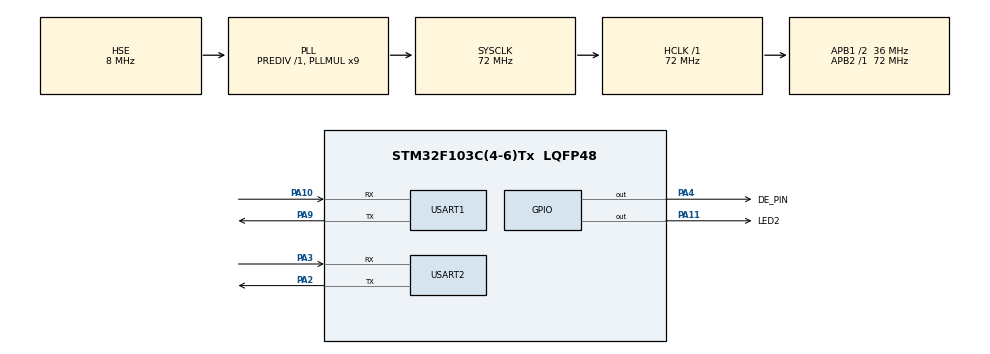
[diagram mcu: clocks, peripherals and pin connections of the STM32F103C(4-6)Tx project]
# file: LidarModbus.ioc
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Dma.Request0=USART1_RX
Dma.Request1=USART1_TX
Dma.Request2=USART2_RX
Dma.Request3=USART2_TX
Dma.USART1_RX.0.Direction=DMA_PERIPH_TO_MEMORY
Dma.USART1_RX.0.Instance=DMA1_Channel5
Dma.USART1_RX.0.MemDataAlignment=DMA_MDATAALIGN_BYTE
Dma.USART1_RX.0.MemInc=DMA_MINC_ENABLE
Dma.USART1_RX.0.Mode=DMA_NORMAL
Dma.USART1_RX.0.PeriphDataAlignment=DMA_PDATAALIGN_BYTE
Dma.USART1_RX.0.PeriphInc=DMA_PINC_DISABLE
Dma.USART1_RX.0.Priority=DMA_PRIORITY_HIGH
Dma.USART1_TX.1.Direction=DMA_MEMORY_TO_PERIPH
Dma.USART1_TX.1.Instance=DMA1_Channel4
Dma.USART1_TX.1.MemDataAlignment=DMA_MDATAALIGN_BYTE
Dma.USART1_TX.1.MemInc=DMA_MINC_ENABLE
Dma.USART1_TX.1.Mode=DMA_NORMAL
Dma.USART1_TX.1.PeriphDataAlignment=DMA_PDATAALIGN_BYTE
Dma.USART1_TX.1.PeriphInc=DMA_PINC_DISABLE
Dma.USART1_TX.1.Priority=DMA_PRIORITY_HIGH
Dma.USART2_RX.2.Direction=DMA_PERIPH_TO_MEMORY
Dma.USART2_RX.2.Instance=DMA1_Channel6
Dma.USART2_RX.2.MemDataAlignment=DMA_MDATAALIGN_BYTE
Dma.USART2_RX.2.MemInc=DMA_MINC_ENABLE
Dma.USART2_RX.2.Mode=DMA_NORMAL
Dma.USART2_RX.2.PeriphDataAlignment=DMA_PDATAALIGN_BYTE
Dma.USART2_RX.2.PeriphInc=DMA_PINC_DISABLE
Dma.USART2_RX.2.Priority=DMA_PRIORITY_MEDIUM
Dma.USART2_TX.3.Direction=DMA_MEMORY_TO_PERIPH
Dma.USART2_TX.3.Instance=DMA1_Channel7
Dma.USART2_TX.3.MemDataAlignment=DMA_MDATAALIGN_BYTE
Dma.USART2_TX.3.MemInc=DMA_MINC_ENABLE
Dma.USART2_TX.3.Mode=DMA_NORMAL
Dma.USART2_TX.3.PeriphDataAlignment=DMA_PDATAALIGN_BYTE
Dma.USART2_TX.3.PeriphInc=DMA_PINC_DISABLE
Dma.USART2_TX.3.Priority=DMA_PRIORITY_MEDIUM
Mcu.Family=STM32F1
Mcu.Name=STM32F103C(4-6)Tx
Mcu.Package=LQFP48
NVIC.DMA1_Channel4_IRQn=true\:0\:0\:false\:false\:true\:false\:true\:true
NVIC.DMA1_Channel5_IRQn=true\:0\:0\:false\:false\:true\:false\:true\:true
NVIC.DMA1_Channel6_IRQn=true\:0\:0\:false\:false\:true\:false\:true\:true
NVIC.DMA1_Channel7_IRQn=true\:0\:0\:false\:false\:true\:false\:true\:true
NVIC.PriorityGroup=NVIC_PRIORITYGROUP_4
NVIC.USART1_IRQn=true\:0\:0\:false\:false\:true\:true\:true\:true
NVIC.USART2_IRQn=true\:0\:0\:false\:false\:true\:true\:true\:true
PA10.Mode=Asynchronous
PA10.Signal=USART1_RX
PA11.GPIO_Label=LED2
PA11.Signal=GPIO_Output
PA13.Mode=Serial_Wire
PA13.Signal=SYS_JTMS-SWDIO
PA14.Mode=Serial_Wire
PA14.Signal=SYS_JTCK-SWCLK
PA2.Mode=Asynchronous
PA2.Signal=USART2_TX
PA3.Mode=Asynchronous
PA3.Signal=USART2_RX
PA4.GPIO_Label=DE_PIN
PA4.Signal=GPIO_Output
PA9.Mode=Asynchronous
PA9.Signal=USART1_TX
PD0-OSC_IN.Mode=HSE-External-Oscillator
PD0-OSC_IN.Signal=RCC_OSC_IN
PD1-OSC_OUT.Mode=HSE-External-Oscillator
PD1-OSC_OUT.Signal=RCC_OSC_OUT
ProjectManager.HeapSize=0x200
ProjectManager.StackSize=0x400
ProjectManager.TargetToolchain=MDK-ARM V5.32
RCC.AHBFreq_Value=72000000
RCC.APB1CLKDivider=RCC_HCLK_DIV2
RCC.APB1Freq_Value=36000000
RCC.APB1TimFreq_Value=72000000
RCC.APB2Freq_Value=72000000
RCC.APB2TimFreq_Value=72000000
RCC.HCLKFreq_Value=72000000
RCC.PLLMUL=RCC_PLL_MUL9
RCC.PLLSourceVirtual=RCC_PLLSOURCE_HSE
RCC.SYSCLKFreq_VALUE=72000000
RCC.SYSCLKSource=RCC_SYSCLKSOURCE_PLLCLK
RCC.USBFreq_Value=72000000
USART1.VirtualMode=VM_ASYNC
USART2.VirtualMode=VM_ASYNC
board=custom

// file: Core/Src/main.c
/* USER CODE BEGIN Header */
/**
  ******************************************************************************
  * @file           : main.c
  * @brief          : Main program body
  ******************************************************************************
  * @attention
  *
  * Copyright (c) 2022 STMicroelectronics.
  * All rights reserved.
  *
  * This software is licensed under terms that can be found in the LICENSE file
  * in the root directory of this software component.
  * If no LICENSE file comes with this software, it is provided AS-IS.
  *
  ******************************************************************************
  */
/* USER CODE END Header */
#include "main.h"
#include "dma.h"
#include "usart.h"
#include "gpio.h"

/* USER CODE BEGIN PV */
/* Private variables ---------------------------------------------------------*/
#define TFMINI_PIX_FLAG_END         0x0D0A     /*\r\n*/
#define TFMINI_PIX_FLAG_NEG         0x2D       /* - */
#define TFMINI_PIX_FLAG_DECPIONT    0x2E       /* . */

#define ASCII_0                     0x30       /*ASCII:0*/

//--------------<<< Use Configuration Wizard in Context Menu >>>---------------
//<h>   The Para Configuration
//      <o0> TFMINI_ACTION_DIST(0-65535, unit:cm)
//</h>
#define TFMINI_ACTION_DIST          200
//---------------<<< end of configuration section >>>--------------------------

extern DMA_HandleTypeDef hdma_usart1_rx;
extern DMA_HandleTypeDef hdma_usart2_rx;

uint8_t g_usart1_rx_buf[USART_BUF_SIZE] = {0};    /*usart1_rx_buf*/
uint8_t g_usart2_rx_buf[USART_BUF_SIZE] = {0};    /*usart2_rx_buf*/
/* USER CODE END PV */

void SystemClock_Config(void);
/* USER CODE BEGIN PFP */
/* Private function prototypes -----------------------------------------------*/

/* USER CODE END PFP */

int main(void)
{

  /* MCU Configuration--------------------------------------------------------*/

  /* Reset of all peripherals, Initializes the Flash interface and the Systick. */
  HAL_Init();

  /* Configure the system clock */
  SystemClock_Config();

  /* Initialize all configured peripherals */
  MX_GPIO_Init();
  MX_DMA_Init();
  MX_USART1_UART_Init();
  MX_USART2_UART_Init();
  /* USER CODE BEGIN 2 */
  HAL_UART_Receive_DMA(&huart1, g_usart1_rx_buf, USART_BUF_SIZE);
 __HAL_UART_ENABLE_IT(&huart1, UART_IT_IDLE);    //UART_IT_IDLE

  /* USER CODE END 2 */

  /* Infinite loop */
  while (1)
  {

  }
}

void SystemClock_Config(void)
{
  RCC_OscInitTypeDef RCC_OscInitStruct = {0};
  RCC_ClkInitTypeDef RCC_ClkInitStruct = {0};

  /** Initializes the RCC Oscillators according to the specified parameters
  * in the RCC_OscInitTypeDef structure.
  */
  RCC_OscInitStruct.OscillatorType = RCC_OSCILLATORTYPE_HSE;
  RCC_OscInitStruct.HSEState = RCC_HSE_ON;
  RCC_OscInitStruct.HSEPredivValue = RCC_HSE_PREDIV_DIV1;
  RCC_OscInitStruct.HSIState = RCC_HSI_ON;
  RCC_OscInitStruct.PLL.PLLState = RCC_PLL_ON;
  RCC_OscInitStruct.PLL.PLLSource = RCC_PLLSOURCE_HSE;
  RCC_OscInitStruct.PLL.PLLMUL = RCC_PLL_MUL9;
  if (HAL_RCC_OscConfig(&RCC_OscInitStruct) != HAL_OK)
  {
    Error_Handler();
  }

  /** Initializes the CPU, AHB and APB buses clocks
  */
  RCC_ClkInitStruct.ClockType = RCC_CLOCKTYPE_HCLK|RCC_CLOCKTYPE_SYSCLK
                              |RCC_CLOCKTYPE_PCLK1|RCC_CLOCKTYPE_PCLK2;
  RCC_ClkInitStruct.SYSCLKSource = RCC_SYSCLKSOURCE_PLLCLK;
  RCC_ClkInitStruct.AHBCLKDivider = RCC_SYSCLK_DIV1;
  RCC_ClkInitStruct.APB1CLKDivider = RCC_HCLK_DIV2;
  RCC_ClkInitStruct.APB2CLKDivider = RCC_HCLK_DIV1;

  if (HAL_RCC_ClockConfig(&RCC_ClkInitStruct, FLASH_LATENCY_2) != HAL_OK)
  {
    Error_Handler();
  }
}

/* USER CODE BEGIN 4 */
/*************************************************
Function: USART1_RX_Proc
Description: USART1_RX_Proc
Input:
    buf, data buffer
    len, data len
Output: None
Return: None
Others: TFMini output dist unit = cm;
*************************************************/
void USART1_RX_Proc(uint8_t *buf, uint32_t len)
{
    uint16_t cordist = 0;

    /*xxx.xx\r\n*/
    if((TFMINI_PIX_FLAG_END == (buf[len - 1] | (buf[len - 2] << 8))) \
        && (TFMINI_PIX_FLAG_DECPIONT == buf[len - 5]))
    {

        if(buf[0] == TFMINI_PIX_FLAG_NEG)   /*Negative, the amplitude value too low.*/
        {
            cordist = 1200;
        }
        else
        {
            cordist = ((buf[len - 6] - ASCII_0) * 100) + ((buf[len - 4] - ASCII_0) * 10) + (buf[len - 3] - ASCII_0);
            cordist+= (len == 7) ? ((buf[len - 7] - ASCII_0) * 1000) : 0;
        }

        /*cordist > TFMINI_ACTION_DIST cm, PA8 set Low;
          cordist <= TFMINI_ACTION_DIST cm, PA8 set High.*/

    }
}

/*************************************************
Function: USART2_RX_Proc
Description: USART2_RX_Proc
Input:
    buf, data buffer
    len, data len
Output: None
Return: None
Others:
*************************************************/
void USART2_RX_Proc(uint8_t *buf, uint32_t len)
{

}
/* USER CODE END 4 */

void Error_Handler(void)
{
  while(1)
  {
  }
}
